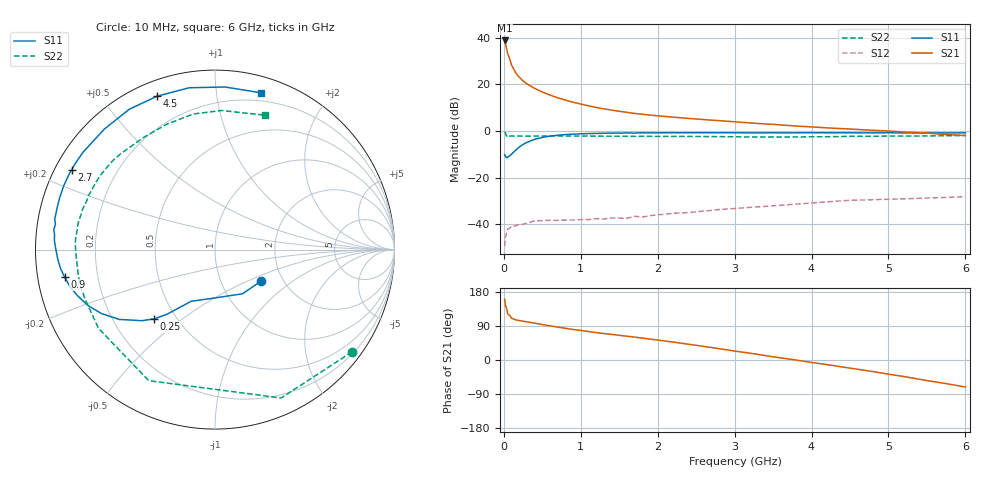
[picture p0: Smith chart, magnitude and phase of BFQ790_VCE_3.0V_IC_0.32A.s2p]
! (c) 2015  Infineon Technologies AG, Munich
! Infineon Technologies  Discrete & RF Semiconductors
! BFQ790
! VCE =  3.0 V,  IC = 0.32 A
! Common Emitter S-Parameters:  May 2015
# GHz  S  MA  R  50
!  f  S11  S21  S12  S22
! GHz  MAG  ANG  MAG  ANG  MAG  ANG  MAG  ANG
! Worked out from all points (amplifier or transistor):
!   77 points, 10 MHz to 6 GHz, reference 50 ohm
!   highest |S21| = 38.7 dB at 10 MHz (marker M1)
!   |S21| within 3 dB of that: start of sweep to 32.29 MHz
!   unconditionally stable (mu >= 1): 199.8 MHz to end of sweep
!   at 130 MHz: K = 0.81, MSG = 33.6 dB, |S12| = -40.8 dB
!   at 2.2 GHz: K = 1.31, MAG = 17.2 dB, |S12| = -35.3 dB
!   at 6 GHz: K = 1.09, MAG = 11.2 dB, |S12| = -28.1 dB
!   S11 on the Smith chart (normalised r, x): 10 MHz: 1.55, -0.60; 250 MHz: 0.38, -0.40; 900 MHz: 0.08, -0.09; 2.7 GHz: 0.05, +0.26; 4.5 GHz: 0.07, +0.69; 6 GHz: 0.13, +1.32
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0.01  0.3107 -34.4  86.5 160.3  0.0034 69.0  0.9531 -36.7
0.02  0.29 -58.1  74.44 145.0  0.0054 56.7  0.9051 -66.0
0.05  0.2748 -95.9  45.06 121.5  0.0079 33.5  0.8181 -116.8
0.1  0.3168 -114.7  25.53 110.1  0.0089 19.5  0.7833 -145.9
0.15  0.3809 -121.7  17.96 106.1  0.0092 20.9  0.7743 -158.3
0.2  0.4501 -126.7  14.12 104.1  0.01 22.1  0.7773 -164.6
0.25  0.5135 -131.3  11.78 102.3  0.01 18.8  0.7751 -168.8
0.3  0.5682 -135.8  10.16 100.7  0.0105 16.8  0.7734 -172.1
0.4  0.6604 -143.9  8.136 97.1  0.0119 15.7  0.7741 -176.7
0.5  0.726 -150.6  6.796 93.5  0.012 13.0  0.7767 179.9
0.6  0.7745 -156.4  5.859 90.2  0.0122 14.1  0.7795 177.2
0.7  0.8074 -161.4  5.118 86.8  0.0121 17.1  0.7785 174.7
0.9  0.8519 -169.7  4.109 80.5  0.0123 10.9  0.7757 171.2
1.1  0.8768 -176.2  3.444 75.1  0.0126 14.7  0.7749 167.6
1.5  0.8976 174.7  2.63 65.2  0.0136 17.1  0.7692 161.9
2.1  0.9107 163.4  2.035 50.0  0.0165 17.0  0.7622 153.0
2.7  0.9139 150.8  1.701 32.9  0.0199 13.5  0.7557 141.3
3.1  0.9108 141.5  1.524 20.9  0.0224 8.8  0.7449 132.2
4.1  0.9131 119.3  1.189 -9.3  0.0294 -6.7  0.7492 108.5
4.5  0.9135 110.7  1.099 -21.5  0.0327 -14.0  0.7651 99.1
5.1  0.9085 96.6  0.972 -40.5  0.0347 -27.7  0.7749 85.2
6  0.9101 73.8  0.795 -71.5  0.0392 -48.7  0.7991 69.7
